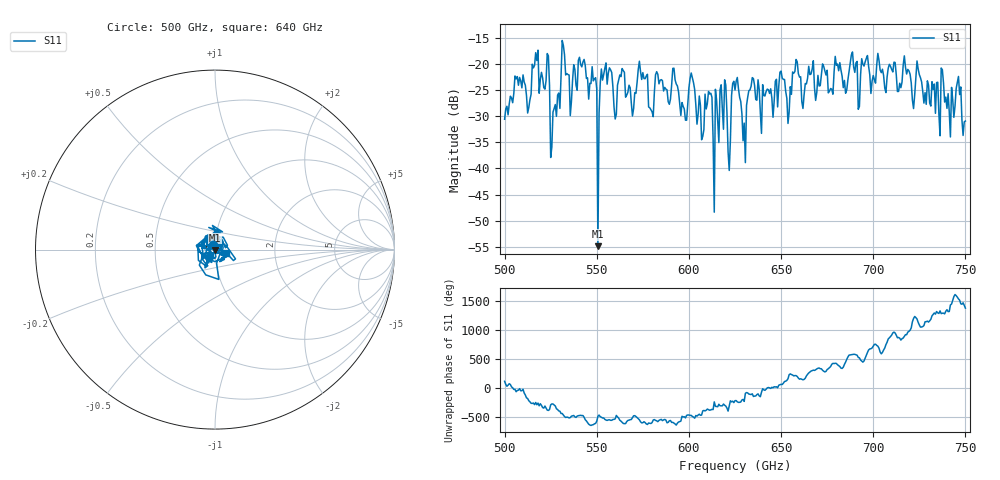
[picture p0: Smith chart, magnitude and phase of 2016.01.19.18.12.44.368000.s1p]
!Created with skrf (http://scikit-rf.org).
# GHz S RI R 50.0
!freq ReS11 ImS11
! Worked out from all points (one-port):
!   401 points, 500 GHz to 750 GHz, reference 50 ohm
!   lowest |S11| = -54.9 dB at 550.6 GHz (marker M1), VSWR 1.00, Z = 49.9 - j0.137 ohm
!   |S11| at or under -10 dB: start of sweep to end of sweep
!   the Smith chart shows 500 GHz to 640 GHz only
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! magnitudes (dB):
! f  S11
! 500 GHz  -30.6
! 506.9 GHz  -22.4
! 513.1 GHz  -28.3
! 516.9 GHz  -17.9
! 523.1 GHz  -18.0
! 526.2 GHz  -29.2
! 531.2 GHz  -15.5
! 548.8 GHz  -22.9
! 550.6 GHz  -54.9
! 553.8 GHz  -22.1
! 560 GHz  -30.5
! 562.5 GHz  -22.1
! 593.8 GHz  -24.2
! 598.1 GHz  -30.8
! 601.9 GHz  -22.7
! 606.9 GHz  -34.5
! 611.2 GHz  -25.8
! 615 GHz  -26.9
! 618.8 GHz  -32.5
! 621.9 GHz  -40.4
! 625 GHz  -25.0
! 630 GHz  -31.3
! 633.8 GHz  -24.3
! 656.2 GHz  -21.6
! 687.5 GHz  -19.9
! 718.8 GHz  -21.1
! 746.2 GHz  -22.4
! 750 GHz  -30.9
